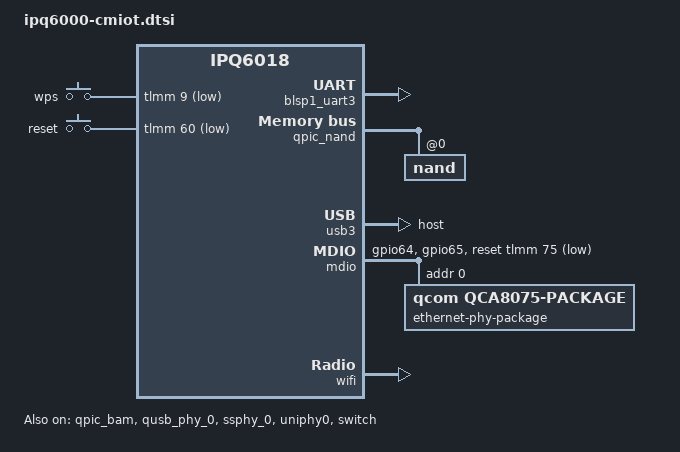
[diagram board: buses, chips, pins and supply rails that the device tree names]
// SPDX-License-Identifier: GPL-2.0-or-later OR MIT

/dts-v1/;

#include "ipq6018.dtsi"
#include "ipq6018-ess.dtsi"
#include "ipq6018-512m.dtsi"

#include <dt-bindings/gpio/gpio.h>
#include <dt-bindings/input/input.h>
#include <dt-bindings/leds/common.h>

/ {
	aliases {
		serial0 = &blsp1_uart3;
	};

	chosen {
		stdout-path = "serial0:115200n8";
		bootargs-append = " root=/dev/ubiblock0_1";
	};

	keys {
		compatible = "gpio-keys";

		wps {
			label = "wps";
			linux,code = <KEY_WPS_BUTTON>;
			gpios = <&tlmm 9 GPIO_ACTIVE_LOW>;
		};

		reset {
			label = "reset";
			linux,code = <KEY_RESTART>;
			gpios = <&tlmm 60 GPIO_ACTIVE_LOW>;
		};
	};
};

&tlmm {
	mdio_pins: mdio-pins {
		mdc {
			pins = "gpio64";
			function = "mdc";
			drive-strength = <8>;
			bias-pull-up;
		};

		mdio {
			pins = "gpio65";
			function = "mdio";
			drive-strength = <8>;
			bias-pull-up;
		};
	};
};

&blsp1_uart3 {
	pinctrl-0 = <&serial_3_pins>;
	pinctrl-names = "default";
	status = "okay";
};

&qpic_bam {
	status = "okay";
};

&qpic_nand {
	status = "okay";

	nand@0 {
		reg = <0>;
		nand-ecc-strength = <4>;
		nand-ecc-step-size = <512>;
		nand-bus-width = <8>;

		partitions {
			compatible = "qcom,smem-part";
		};
	};
};

&qusb_phy_0 {
	status = "okay";
};

&ssphy_0 {
	status = "okay";
};

&usb3 {
	dr_mode = "host";

	status = "okay";
};

&mdio {
	status = "okay";

	pinctrl-0 = <&mdio_pins>;
	pinctrl-names = "default";
	reset-gpios = <&tlmm 75 GPIO_ACTIVE_LOW>;

	ethernet-phy-package@0 {
		compatible = "qcom,qca8075-package";
		#address-cells = <1>;
		#size-cells = <0>;
		reg = <0>;

		qca8075_0: ethernet-phy@0 {
			compatible = "ethernet-phy-ieee802.3-c22";
			reg = <0>;
		};

		qca8075_1: ethernet-phy@1 {
			compatible = "ethernet-phy-ieee802.3-c22";
			reg = <1>;
		};

		qca8075_3: ethernet-phy@3 {
			compatible = "ethernet-phy-ieee802.3-c22";
			reg = <3>;
		};

		qca8075_4: ethernet-phy@4 {
			compatible = "ethernet-phy-ieee802.3-c22";
			reg = <4>;
		};
	};
};

&uniphy0 {
	status = "okay";
};

&switch {
	status = "okay";

	ports {
		#address-cells = <1>;
		#size-cells = <0>;

		port@0 {
			reg = <0>;
			ethernet = <&edma>;
			phy-mode = "internal";

			fixed-link {
				speed = <1000>;
				full-duplex;
			};
		};

		port@1 {
			reg = <1>;
			label = "lan3";
			phy-handle = <&qca8075_0>;
			phy-mode = "psgmii";
			pcs-handle = <&uniphy0 0>;
		};

		port@2 {
			reg = <2>;
			label = "lan2";
			phy-handle = <&qca8075_1>;
			phy-mode = "psgmii";
			pcs-handle = <&uniphy0 1>;
		};

		port@4 {
			reg = <4>;
			label = "lan1";
			phy-handle = <&qca8075_3>;
			phy-mode = "psgmii";
			pcs-handle = <&uniphy0 3>;
		};

		port@5 {
			reg = <5>;
			label = "wan";
			phy-handle = <&qca8075_4>;
			phy-mode = "psgmii";
			pcs-handle = <&uniphy0 4>;
		};
	};
};

&edma {
	status = "okay";
};

&wifi {
	status = "okay";

	qcom,ath11k-fw-memory-mode = <1>;
};
